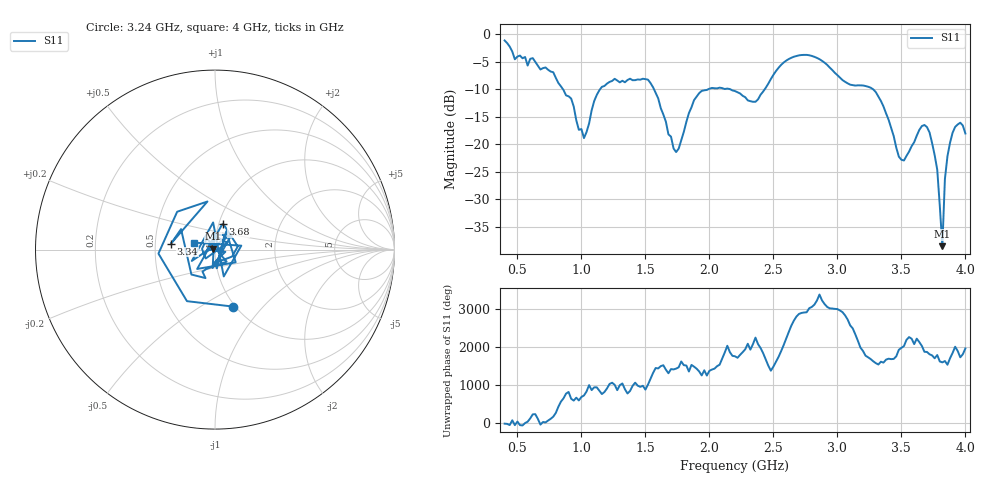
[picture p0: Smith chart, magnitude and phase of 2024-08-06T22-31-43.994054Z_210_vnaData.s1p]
!Created with skrf (http://scikit-rf.org).
# Hz S RI R 50.0
!freq ReS11 ImS11
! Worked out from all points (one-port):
!   181 points, 400 MHz to 4 GHz, reference 50 ohm
!   lowest |S11| = -38.5 dB at 3.82 GHz (marker M1), VSWR 1.02, Z = 48.9 + j0.498 ohm
!   |S11| at or under -10 dB: 856.3 MHz to 1.146 GHz (289.5 MHz wide, 28.9 % of centre); 1.567 GHz to 1.99 GHz (422.9 MHz wide, 23.8 % of centre); 3.279 GHz to end of sweep (the widest 3 of 4)
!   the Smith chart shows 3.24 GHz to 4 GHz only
!   S11 on the Smith chart (normalised r, x): 3.24 GHz: 0.98, -0.70; 3.34 GHz: 0.60, +0.04; 3.68 GHz: 1.04, +0.31; 4 GHz: 0.78, +0.06
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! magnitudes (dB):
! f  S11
! 400 MHz  -1.1
! 480 MHz  -4.6
! 620 MHz  -4.3
! 860 MHz  -10.1
! 1.02 GHz  -18.9
! 1.14 GHz  -10.2
! 1.3 GHz  -8.7
! 1.52 GHz  -8.2
! 1.72 GHz  -20.8
! 1.76 GHz  -20.8
! 1.92 GHz  -10.7
! 2.2 GHz  -10.3
! 2.36 GHz  -12.3
! 2.66 GHz  -4.1
! 2.84 GHz  -4.3
! 3.1 GHz  -9.2
! 3.24 GHz  -9.5
! 3.34 GHz  -12.1
! 3.48 GHz  -22.2
! 3.56 GHz  -21.3
! 3.68 GHz  -16.5
! 3.72 GHz  -17.8
! 3.78 GHz  -24.6
! 3.82 GHz  -38.5
! 3.84 GHz  -26.3
! 3.88 GHz  -19.7
! 3.96 GHz  -16.1
! 4 GHz  -18.0
